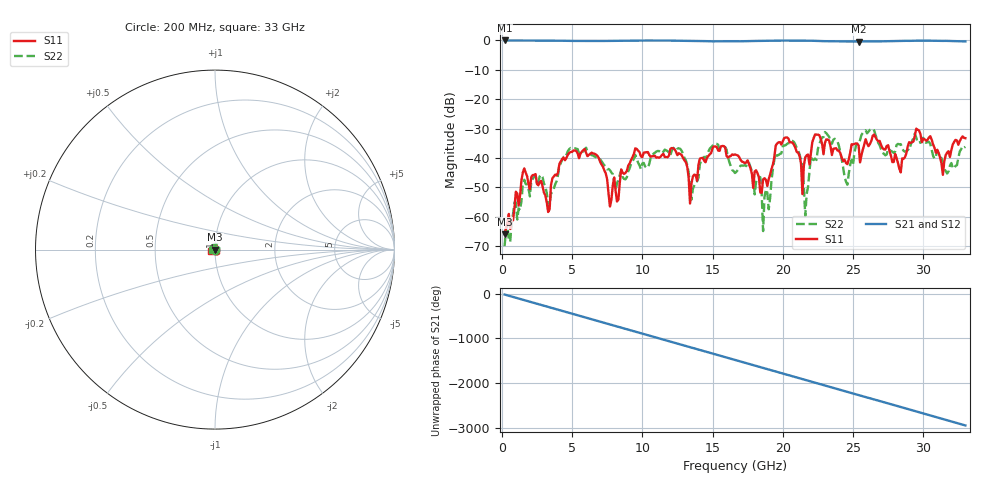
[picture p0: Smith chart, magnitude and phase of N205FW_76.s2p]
# GHZ S RI R 50
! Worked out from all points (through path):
!   329 points, 200 MHz to 33 GHz, reference 50 ohm
!   highest |S21| = -0.01 dB at 200 MHz (marker M1); lowest = -0.4 dB at 25.4 GHz (marker M2)
!   group delay of S21, straight-line fit = 248 ps
!   lowest |S11| = -66.0 dB at 200 MHz (marker M3), VSWR 1.00, Z = 50 - j0.0478 ohm
!   |S11| at or under -10 dB: start of sweep to end of sweep
!   |S22| runs from -70.0 to -30.0 dB; largest |S21 - S12| = 0.0022
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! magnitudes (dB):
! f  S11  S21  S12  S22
! 200 MHz  -66.0  0.0  0.0  -70.0
! 1.6 GHz  -43.6  0.0  0.0  -47.4
! 3.3 GHz  -58.4  -0.1  -0.1  -55.4
! 5.7 GHz  -37.8  -0.2  -0.2  -38.1
! 7.7 GHz  -56.5  -0.2  -0.2  -44.2
! 11.2 GHz  -39.9  0.0  0.0  -37.7
! 12.8 GHz  -39.0  -0.1  -0.1  -37.6
! 13.4 GHz  -55.5  -0.2  -0.2  -49.3
! 15.1 GHz  -36.1  -0.3  -0.3  -35.1
! 16.6 GHz  -38.8  -0.3  -0.3  -45.1
! 18.4 GHz  -51.8  -0.1  -0.1  -46.5
! 18.6 GHz  -47.3  -0.1  -0.1  -64.9
! 19.5 GHz  -35.8  -0.1  -0.1  -38.6
! 21.1 GHz  -38.2  -0.1  -0.1  -37.5
! 21.4 GHz  -52.3  -0.1  -0.1  -42.0
! 21.6 GHz  -39.8  -0.1  -0.1  -59.7
! 22.1 GHz  -34.7  -0.1  -0.1  -40.5
! 23.8 GHz  -36.7  -0.3  -0.3  -33.8
! 24.6 GHz  -42.1  -0.4  -0.4  -49.1
! 25.4 GHz  -35.8  -0.4  -0.4  -35.0
! 27.6 GHz  -37.7  -0.2  -0.2  -37.3
! 33 GHz  -33.3  -0.3  -0.3  -36.2
